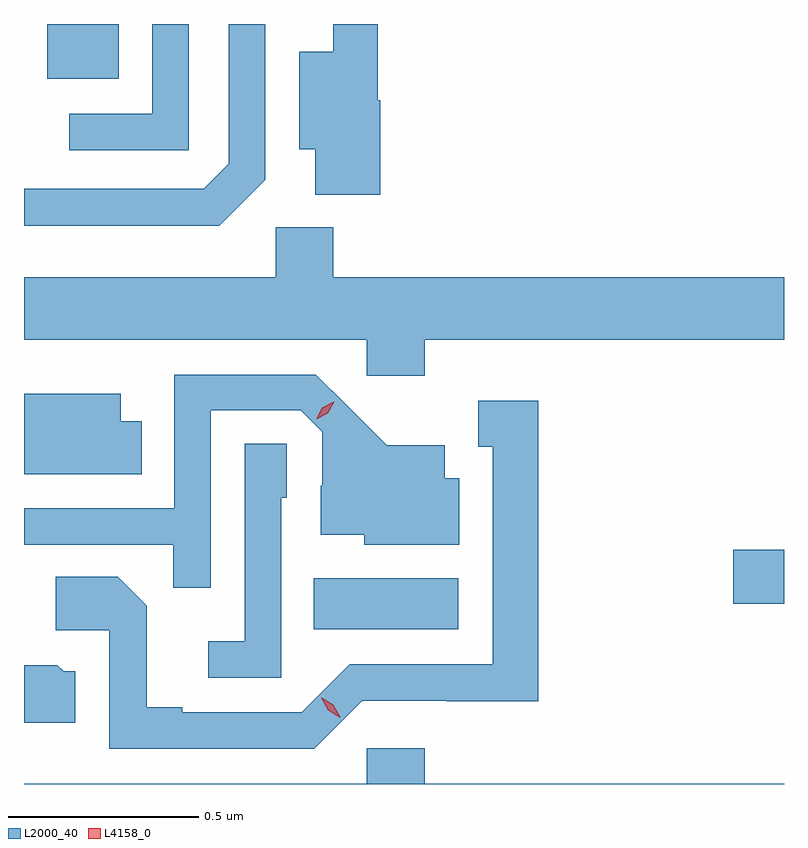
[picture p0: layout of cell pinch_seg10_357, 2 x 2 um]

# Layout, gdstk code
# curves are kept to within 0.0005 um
import gdstk
lib = gdstk.Library(unit=1e-6, precision=1e-09)
def R(c, l, rs):  # rectangles x0, y0, x1, y1
    for r in rs: c.add(gdstk.rectangle(r[:2], r[2:], *l))
def P(c, l, *ps):  # polygons
    for p in ps: c.add(gdstk.Polygon(p, *l))
L2000_40 = (2000, 40)
L4158_0 = (4158, 0)

pinch_seg10_357 = lib.new_cell('pinch_seg10_357')
R(pinch_seg10_357, L2000_40, [(516.766,1283.57,517.147,1283.704), (517.871,1283.638,518.004,1283.78), (516.065,1285.019,516.253,1285.163)])
P(pinch_seg10_357, L2000_40, [(516.639,1284.753),(516.639,1285.163),(516.543,1285.163),(516.543,1284.795),(516.477,1284.729),(516.004,1284.729),(516.004,1284.632),(516.518,1284.632)],
  [(516.941,1284.962),(516.935,1284.962),(516.935,1285.163),(516.818,1285.163),(516.818,1285.09),(516.728,1285.09),(516.728,1284.833),(516.77,1284.833),(516.77,1284.714),(516.941,1284.714)],
  [(516.438,1285.163),(516.342,1285.163),(516.342,1284.927),(516.123,1284.927),(516.123,1284.831),(516.438,1284.831)],
  [(517.058,1284.332),(518.004,1284.332),(518.004,1284.496),(516.818,1284.496),(516.818,1284.628),(516.666,1284.628),(516.666,1284.496),(516.004,1284.496),(516.004,1284.332),(516.906,1284.332),(516.906,1284.237),(517.058,1284.237)],
  [(516.495,1284.147),(516.732,1284.147),(516.789,1284.09),(516.789,1283.948),(516.785,1283.948),(516.785,1283.819),(516.9,1283.819),(516.9,1283.792),(517.15,1283.792),(517.15,1283.968),(517.111,1283.968),(517.111,1284.055),(516.959,1284.055),(516.772,1284.24),(516.399,1284.24),(516.399,1283.889),(516.004,1283.889),(516.004,1283.793),(516.397,1283.793),(516.397,1283.68),(516.495,1283.68)],
  [(516.314,1284.118),(516.259,1284.118),(516.259,1284.19),(516.004,1284.19),(516.004,1283.978),(516.314,1283.978)],
  [(516.894,1283.382),(517.116,1283.382),(517.116,1283.381),(517.357,1283.381),(517.357,1284.172),(517.199,1284.172),(517.199,1284.051),(517.238,1284.051),(517.238,1283.478),(516.861,1283.478),(516.735,1283.352),(516.421,1283.352),(516.421,1283.365),(516.327,1283.365),(516.327,1283.632),(516.251,1283.708),(516.087,1283.708),(516.087,1283.568),(516.228,1283.568),(516.228,1283.256),(516.768,1283.256)],
  [(516.681,1283.916),(516.696,1283.916),(516.696,1284.059),(516.585,1284.059),(516.585,1283.539),(516.489,1283.539),(516.489,1283.442),(516.681,1283.442)],
  [(516.139,1283.46),(516.108,1283.46),(516.092,1283.476),(516.004,1283.476),(516.004,1283.324),(516.139,1283.324)],
  [(518.004,1283.164),(517.058,1283.164),(517.058,1283.257),(516.906,1283.257),(516.906,1283.164),(516.004,1283.164),(516.004,1283.163),(518.004,1283.163)])
P(pinch_seg10_357, L4158_0, [(516.836,1283.338),(516.804,1283.357),(516.786,1283.39),(516.786,1283.39),(516.787,1283.39),(516.818,1283.371),(516.836,1283.339),(516.836,1283.338)],
  [(516.773,1284.123),(516.773,1284.123),(516.789,1284.153),(516.819,1284.169),(516.82,1284.169),(516.82,1284.169),(516.803,1284.139),(516.773,1284.123)])

lib.write_gds('pinch_seg10_357.gds')
